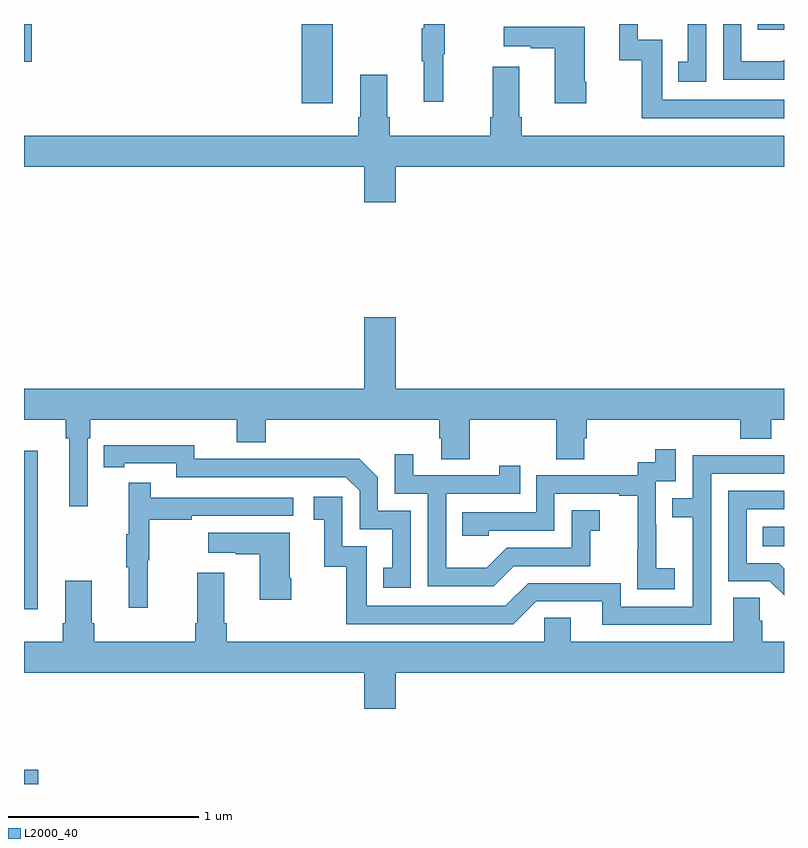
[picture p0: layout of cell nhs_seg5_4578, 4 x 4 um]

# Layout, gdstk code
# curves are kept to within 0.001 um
import gdstk
lib = gdstk.Library(unit=1e-6, precision=1e-09)
def R(c, l, rs):  # rectangles x0, y0, x1, y1
    for r in rs: c.add(gdstk.rectangle(r[:2], r[2:], *l))
def P(c, l, *ps):  # polygons
    for p in ps: c.add(gdstk.Polygon(p, *l))
L2000_40 = (2000, 40)

nhs_seg5_4578 = lib.new_cell('nhs_seg5_4578')
R(nhs_seg5_4578, L2000_40, [(379,898.799,379.075,898.874), (379,899.718,379.072,900.553), (382.888,900.05,383,900.154), (380.462,902.382,380.626,902.799), (379,902.601,379.04,902.799), (382.861,902.769,383,902.799)])
P(nhs_seg5_4578, L2000_40, [(381.206,902.64),(381.214,902.64),(381.214,902.799),(381.104,902.799),(381.104,902.777),(381.093,902.777),(381.093,902.603),(381.104,902.603),(381.104,902.391),(381.206,902.391)],
  [(382.59,902.799),(382.493,902.799),(382.493,902.601),(382.444,902.601),(382.444,902.496),(382.59,902.496)],
  [(383,902.612),(382.99,902.602),(382.776,902.602),(382.776,902.799),(382.68,902.799),(382.68,902.505),(383,902.505)],
  [(383,902.4),(382.359,902.4),(382.359,902.715),(382.23,902.715),(382.23,902.799),(382.133,902.799),(382.133,902.607),(382.251,902.607),(382.251,902.304),(383,902.304)],
  [(381.96,902.494),(381.952,902.494),(381.952,902.785),(381.525,902.785),(381.525,902.681),(381.668,902.681),(381.668,902.671),(381.794,902.671),(381.794,902.382),(381.96,902.382)],
  [(380.956,902.048),(383,902.048),(383,902.212),(381.62,902.212),(381.62,902.308),(381.607,902.308),(381.607,902.575),(381.467,902.575),(381.467,902.308),(381.455,902.308),(381.455,902.212),(380.924,902.212),(380.924,902.308),(380.911,902.308),(380.911,902.533),(380.771,902.533),(380.771,902.308),(380.759,902.308),(380.759,902.212),(379,902.212),(379,902.048),(380.792,902.048),(380.792,901.86),(380.956,901.86)],
  [(379.335,900.62),(379.349,900.62),(379.349,900.716),(380.12,900.716),(380.12,900.599),(380.273,900.599),(380.273,900.716),(381.185,900.716),(381.185,900.618),(381.197,900.618),(381.197,900.508),(381.345,900.508),(381.345,900.716),(381.802,900.716),(381.802,900.508),(381.949,900.508),(381.949,900.618),(381.962,900.618),(381.962,900.716),(382.769,900.716),(382.769,900.617),(382.934,900.617),(382.934,900.716),(383,900.716),(383,900.88),(380.956,900.88),(380.956,901.255),(380.792,901.255),(380.792,900.88),(379,900.88),(379,900.716),(379.219,900.716),(379.219,900.62),(379.238,900.62),(379.238,900.261),(379.335,900.261)],
  [(381.036,900.237),(380.862,900.237),(380.862,900.414),(380.764,900.512),(380.356,900.512),(380.356,900.51),(379.896,900.51),(379.896,900.583),(379.42,900.582),(379.42,900.466),(379.528,900.466),(379.528,900.486),(379.8,900.486),(379.8,900.414),(380.694,900.414),(380.766,900.342),(380.766,900.141),(380.939,900.141),(380.939,899.937),(380.89,899.937),(380.89,899.832),(381.036,899.832)],
  [(382.426,899.935),(382.328,899.935),(382.328,900.164),(382.326,900.164),(382.326,900.393),(382.431,900.393),(382.431,900.562),(382.323,900.562),(382.323,900.492),(382.23,900.492),(382.23,900.423),(381.696,900.423),(381.696,900.228),(381.307,900.228),(381.307,900.105),(381.447,900.105),(381.447,900.132),(381.792,900.132),(381.792,900.327),(382.133,900.327),(382.133,900.315),(382.229,900.315),(382.229,900.031),(382.228,900.031),(382.228,899.825),(382.426,899.825)],
  [(381.577,899.946),(381.981,899.946),(381.981,900.131),(382.03,900.131),(382.03,900.241),(381.882,900.241),(381.882,900.042),(381.54,900.042),(381.436,899.938),(381.222,899.938),(381.222,900.327),(381.611,900.327),(381.611,900.475),(381.5,900.475),(381.5,900.423),(381.049,900.423),(381.049,900.535),(380.952,900.535),(380.952,900.327),(381.126,900.327),(381.126,899.841),(381.472,899.841)],
  [(382.617,900.432),(383,900.432),(383,900.528),(382.521,900.528),(382.521,900.303),(382.411,900.303),(382.411,900.202),(382.521,900.202),(382.521,899.733),(382.14,899.733),(382.14,899.856),(381.654,899.856),(381.534,899.736),(380.805,899.736),(380.805,900.051),(380.676,900.051),(380.676,900.31),(380.526,900.31),(380.526,900.189),(380.579,900.189),(380.579,899.943),(380.697,899.943),(380.697,899.64),(381.576,899.64),(381.696,899.76),(382.043,899.76),(382.043,899.637),(382.617,899.637)],
  [(379.652,899.976),(379.66,899.976),(379.66,900.19),(379.883,900.19),(379.883,900.21),(380.416,900.21),(380.416,900.306),(379.667,900.306),(379.667,900.385),(379.55,900.385),(379.55,900.113),(379.539,900.113),(379.539,899.939),(379.55,899.939),(379.55,899.727),(379.652,899.727)],
  [(383,899.933),(382.972,899.961),(382.803,899.961),(382.803,900.246),(383,900.246),(383,900.342),(382.707,900.342),(382.707,899.865),(382.926,899.865),(383,899.792)],
  [(380.406,899.881),(380.398,899.881),(380.398,900.121),(379.971,900.121),(379.971,900.017),(380.114,900.017),(380.114,900.007),(380.24,900.007),(380.24,899.769),(380.406,899.769)],
  [(380.956,899.384),(383,899.384),(383,899.548),(382.886,899.548),(382.886,899.657),(382.872,899.657),(382.872,899.78),(382.733,899.78),(382.733,899.548),(381.877,899.548),(381.877,899.675),(381.738,899.675),(381.738,899.548),(380.066,899.548),(380.066,899.644),(380.053,899.644),(380.053,899.911),(379.913,899.911),(379.913,899.644),(379.901,899.644),(379.901,899.548),(379.37,899.548),(379.37,899.644),(379.357,899.644),(379.357,899.869),(379.217,899.869),(379.217,899.644),(379.205,899.644),(379.205,899.548),(379,899.548),(379,899.384),(380.792,899.384),(380.792,899.196),(380.956,899.196)])

lib.write_gds('nhs_seg5_4578.gds')
